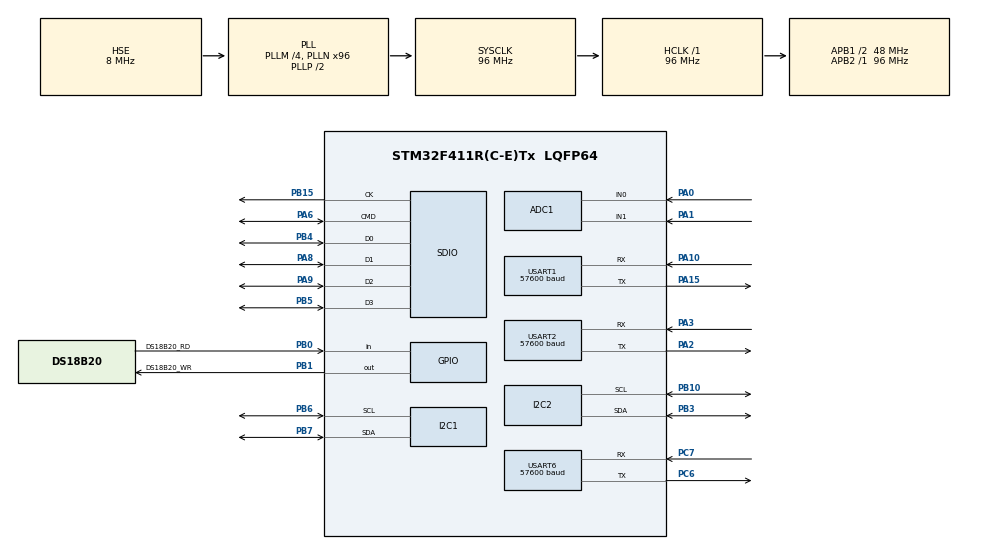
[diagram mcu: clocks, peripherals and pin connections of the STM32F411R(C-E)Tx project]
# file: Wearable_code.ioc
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ADC1.Channel-0\#ChannelRegularConversion=ADC_CHANNEL_0
ADC1.NbrOfConversionFlag=1
ADC1.Rank-0\#ChannelRegularConversion=1
ADC1.SamplingTime-0\#ChannelRegularConversion=ADC_SAMPLETIME_3CYCLES
ADC1.master=1
Dma.ADC1.2.Direction=DMA_PERIPH_TO_MEMORY
Dma.ADC1.2.FIFOMode=DMA_FIFOMODE_DISABLE
Dma.ADC1.2.Instance=DMA2_Stream0
Dma.ADC1.2.MemDataAlignment=DMA_MDATAALIGN_HALFWORD
Dma.ADC1.2.MemInc=DMA_MINC_ENABLE
Dma.ADC1.2.Mode=DMA_NORMAL
Dma.ADC1.2.PeriphDataAlignment=DMA_PDATAALIGN_HALFWORD
Dma.ADC1.2.PeriphInc=DMA_PINC_DISABLE
Dma.ADC1.2.Priority=DMA_PRIORITY_LOW
Dma.Request0=SDIO_RX
Dma.Request1=SDIO_TX
Dma.Request2=ADC1
Dma.Request3=USART1_RX
Dma.Request4=USART6_RX
Dma.Request5=USART2_RX
Dma.Request6=USART2_TX
Dma.SDIO_RX.0.Direction=DMA_PERIPH_TO_MEMORY
Dma.SDIO_RX.0.FIFOMode=DMA_FIFOMODE_ENABLE
Dma.SDIO_RX.0.FIFOThreshold=DMA_FIFO_THRESHOLD_FULL
Dma.SDIO_RX.0.Instance=DMA2_Stream3
Dma.SDIO_RX.0.MemBurst=DMA_MBURST_INC4
Dma.SDIO_RX.0.MemDataAlignment=DMA_MDATAALIGN_WORD
Dma.SDIO_RX.0.MemInc=DMA_MINC_ENABLE
Dma.SDIO_RX.0.Mode=DMA_PFCTRL
Dma.SDIO_RX.0.PeriphBurst=DMA_PBURST_INC4
Dma.SDIO_RX.0.PeriphDataAlignment=DMA_PDATAALIGN_WORD
Dma.SDIO_RX.0.PeriphInc=DMA_PINC_DISABLE
Dma.SDIO_RX.0.Priority=DMA_PRIORITY_LOW
Dma.SDIO_TX.1.Direction=DMA_MEMORY_TO_PERIPH
Dma.SDIO_TX.1.FIFOMode=DMA_FIFOMODE_ENABLE
Dma.SDIO_TX.1.FIFOThreshold=DMA_FIFO_THRESHOLD_FULL
Dma.SDIO_TX.1.Instance=DMA2_Stream6
Dma.SDIO_TX.1.MemBurst=DMA_MBURST_INC4
Dma.SDIO_TX.1.MemDataAlignment=DMA_MDATAALIGN_WORD
Dma.SDIO_TX.1.MemInc=DMA_MINC_ENABLE
Dma.SDIO_TX.1.Mode=DMA_PFCTRL
Dma.SDIO_TX.1.PeriphBurst=DMA_PBURST_INC4
Dma.SDIO_TX.1.PeriphDataAlignment=DMA_PDATAALIGN_WORD
Dma.SDIO_TX.1.PeriphInc=DMA_PINC_DISABLE
Dma.SDIO_TX.1.Priority=DMA_PRIORITY_LOW
Dma.USART1_RX.3.Direction=DMA_PERIPH_TO_MEMORY
Dma.USART1_RX.3.FIFOMode=DMA_FIFOMODE_DISABLE
Dma.USART1_RX.3.Instance=DMA2_Stream2
Dma.USART1_RX.3.MemDataAlignment=DMA_MDATAALIGN_BYTE
Dma.USART1_RX.3.MemInc=DMA_MINC_ENABLE
Dma.USART1_RX.3.Mode=DMA_CIRCULAR
Dma.USART1_RX.3.PeriphDataAlignment=DMA_PDATAALIGN_BYTE
Dma.USART1_RX.3.PeriphInc=DMA_PINC_DISABLE
Dma.USART1_RX.3.Priority=DMA_PRIORITY_LOW
Dma.USART2_RX.5.Direction=DMA_PERIPH_TO_MEMORY
Dma.USART2_RX.5.FIFOMode=DMA_FIFOMODE_DISABLE
Dma.USART2_RX.5.Instance=DMA1_Stream5
Dma.USART2_RX.5.MemDataAlignment=DMA_MDATAALIGN_BYTE
Dma.USART2_RX.5.MemInc=DMA_MINC_ENABLE
Dma.USART2_RX.5.Mode=DMA_CIRCULAR
Dma.USART2_RX.5.PeriphDataAlignment=DMA_PDATAALIGN_BYTE
Dma.USART2_RX.5.PeriphInc=DMA_PINC_DISABLE
Dma.USART2_RX.5.Priority=DMA_PRIORITY_LOW
Dma.USART2_TX.6.Direction=DMA_MEMORY_TO_PERIPH
Dma.USART2_TX.6.FIFOMode=DMA_FIFOMODE_DISABLE
Dma.USART2_TX.6.Instance=DMA1_Stream6
Dma.USART2_TX.6.MemDataAlignment=DMA_MDATAALIGN_BYTE
Dma.USART2_TX.6.MemInc=DMA_MINC_ENABLE
Dma.USART2_TX.6.Mode=DMA_NORMAL
Dma.USART2_TX.6.PeriphDataAlignment=DMA_PDATAALIGN_BYTE
Dma.USART2_TX.6.PeriphInc=DMA_PINC_DISABLE
Dma.USART2_TX.6.Priority=DMA_PRIORITY_VERY_HIGH
Dma.USART6_RX.4.Direction=DMA_PERIPH_TO_MEMORY
Dma.USART6_RX.4.FIFOMode=DMA_FIFOMODE_DISABLE
Dma.USART6_RX.4.Instance=DMA2_Stream1
Dma.USART6_RX.4.MemDataAlignment=DMA_MDATAALIGN_BYTE
Dma.USART6_RX.4.MemInc=DMA_MINC_ENABLE
Dma.USART6_RX.4.Mode=DMA_NORMAL
Dma.USART6_RX.4.PeriphDataAlignment=DMA_PDATAALIGN_BYTE
Dma.USART6_RX.4.PeriphInc=DMA_PINC_DISABLE
Dma.USART6_RX.4.Priority=DMA_PRIORITY_LOW
FREERTOS.BinarySemaphores01=send_sem,Dynamic,NULL
FREERTOS.Tasks01=defaultTask,0,128,StartDefaultTask,Default,NULL
FREERTOS.Timers01=Sender,Callback_Sender,osTimerPeriodic,Default,NULL,Dynamic,NULL
FREERTOS.configUSE_TIMERS=1
Mcu.Family=STM32F4
Mcu.Name=STM32F411R(C-E)Tx
Mcu.Package=LQFP64
NVIC.DMA1_Stream5_IRQn=true\:5\:0\:false\:false\:true\:true
NVIC.DMA1_Stream6_IRQn=true\:5\:0\:false\:false\:true\:true
NVIC.DMA2_Stream0_IRQn=true\:5\:0\:false\:false\:true\:true
NVIC.DMA2_Stream1_IRQn=true\:5\:0\:false\:false\:true\:true
NVIC.DMA2_Stream2_IRQn=true\:5\:0\:false\:false\:true\:true
NVIC.DMA2_Stream3_IRQn=true\:5\:0\:false\:false\:true\:true
NVIC.DMA2_Stream6_IRQn=true\:5\:0\:false\:false\:true\:true
NVIC.PriorityGroup=NVIC_PRIORITYGROUP_4
NVIC.TIM1_UP_TIM10_IRQn=true\:0\:0\:false\:false\:true\:false
NVIC.TIM2_IRQn=true\:5\:0\:false\:false\:true\:true
NVIC.TimeBase=TIM1_UP_TIM10_IRQn
NVIC.TimeBaseIP=TIM1
NVIC.USART1_IRQn=true\:5\:0\:false\:false\:true\:true
NVIC.USART2_IRQn=true\:5\:0\:false\:false\:true\:true
NVIC.USART6_IRQn=true\:5\:0\:false\:false\:true\:true
PA0-WKUP.Signal=ADCx_IN0
PA1.Signal=ADCx_IN1
PA10.Mode=Asynchronous
PA10.Signal=USART1_RX
PA13.Mode=Serial_Wire
PA13.Signal=SYS_JTMS-SWDIO
PA14.Mode=Serial_Wire
PA14.Signal=SYS_JTCK-SWCLK
PA15.Mode=Asynchronous
PA15.Signal=USART1_TX
PA2.Mode=Asynchronous
PA2.Signal=USART2_TX
PA3.Mode=Asynchronous
PA3.Signal=USART2_RX
PA6.Mode=SD_4_bits_Wide_bus
PA6.Signal=SDIO_CMD
PA8.Mode=SD_4_bits_Wide_bus
PA8.Signal=SDIO_D1
PA9.Mode=SD_4_bits_Wide_bus
PA9.Signal=SDIO_D2
PB0.GPIO_Label=DS18B20_RD
PB0.Signal=GPIO_Input
PB1.GPIO_Label=DS18B20_WR
PB1.Signal=GPIO_Output
PB10.Mode=I2C
PB10.Signal=I2C2_SCL
PB15.Mode=SD_4_bits_Wide_bus
PB15.Signal=SDIO_CK
PB3.Mode=I2C
PB3.Signal=I2C2_SDA
PB4.Mode=SD_4_bits_Wide_bus
PB4.Signal=SDIO_D0
PB5.Mode=SD_4_bits_Wide_bus
PB5.Signal=SDIO_D3
PB6.Mode=I2C
PB6.Signal=I2C1_SCL
PB7.Mode=I2C
PB7.Signal=I2C1_SDA
PC6.Mode=Asynchronous
PC6.Signal=USART6_TX
PC7.Mode=Asynchronous
PC7.Signal=USART6_RX
PH0\ -\ OSC_IN.Mode=HSE-External-Oscillator
PH0\ -\ OSC_IN.Signal=RCC_OSC_IN
PH1\ -\ OSC_OUT.Mode=HSE-External-Oscillator
PH1\ -\ OSC_OUT.Signal=RCC_OSC_OUT
ProjectManager.HeapSize=0x200
ProjectManager.StackSize=0x400
ProjectManager.TargetToolchain=MDK-ARM V5
RCC.48MHZClocksFreq_Value=48000000
RCC.AHBFreq_Value=96000000
RCC.APB1CLKDivider=RCC_HCLK_DIV2
RCC.APB1Freq_Value=48000000
RCC.APB1TimFreq_Value=96000000
RCC.APB2Freq_Value=96000000
RCC.APB2TimFreq_Value=96000000
RCC.CortexFreq_Value=96000000
RCC.HCLKFreq_Value=96000000
RCC.HSE_VALUE=8000000
RCC.HSI_VALUE=16000000
RCC.LSE_VALUE=32768
RCC.PLLM=4
RCC.PLLN=96
RCC.PLLSourceVirtual=RCC_PLLSOURCE_HSE
RCC.SYSCLKFreq_VALUE=96000000
RCC.SYSCLKSource=RCC_SYSCLKSOURCE_PLLCLK
RCC.VCOOutputFreq_Value=192000000
SH.ADCx_IN0.0=ADC1_IN0,IN0
SH.ADCx_IN1.0=ADC1_IN1,IN1
TIM2.Period=40000
TIM2.Prescaler=84
USART1.BaudRate=57600
USART1.VirtualMode=VM_ASYNC
USART2.BaudRate=57600
USART2.VirtualMode=VM_ASYNC
USART6.BaudRate=57600
USART6.VirtualMode=VM_ASYNC
VP_FREERTOS_VS_ENABLE.Mode=Enabled
VP_RTC_VS_RTC_Activate.Mode=RTC_Enabled
VP_SYS_VS_tim1.Mode=TIM1
VP_TIM2_VS_ClockSourceINT.Mode=Internal
board=Wearable_code

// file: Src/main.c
/**
  ******************************************************************************
  * File Name          : main.c
  * Description        : Main program body
  ******************************************************************************
  * This notice applies to any and all portions of this file
  * that are not between comment pairs USER CODE BEGIN and
  * USER CODE END. Other portions of this file, whether
  * inserted by the user or by software development tools
  * are owned by their respective copyright owners.
  *
  * Copyright (c) 2017 STMicroelectronics International N.V.
  * All rights reserved.
  *
  * Redistribution and use in source and binary forms, with or without
  * modification, are permitted, provided that the following conditions are met:
  *
  * 1. Redistribution of source code must retain the above copyright notice,
  *    this list of conditions and the following disclaimer.
  * 2. Redistributions in binary form must reproduce the above copyright notice,
  *    this list of conditions and the following disclaimer in the documentation
  *    and/or other materials provided with the distribution.
  * 3. Neither the name of STMicroelectronics nor the names of other
  *    contributors to this software may be used to endorse or promote products
  *    derived from this software without specific written permission.
  * 4. This software, including modifications and/or derivative works of this
  *    software, must execute solely and exclusively on microcontroller or
  *    microprocessor devices manufactured by or for STMicroelectronics.
  * 5. Redistribution and use of this software other than as permitted under
  *    this license is void and will automatically terminate your rights under
  *    this license.
  *
  * THIS SOFTWARE IS PROVIDED BY STMICROELECTRONICS AND CONTRIBUTORS "AS IS"
  * AND ANY EXPRESS, IMPLIED OR STATUTORY WARRANTIES, INCLUDING, BUT NOT
  * LIMITED TO, THE IMPLIED WARRANTIES OF MERCHANTABILITY, FITNESS FOR A
  * PARTICULAR PURPOSE AND NON-INFRINGEMENT OF THIRD PARTY INTELLECTUAL PROPERTY
  * RIGHTS ARE DISCLAIMED TO THE FULLEST EXTENT PERMITTED BY LAW. IN NO EVENT
  * SHALL STMICROELECTRONICS OR CONTRIBUTORS BE LIABLE FOR ANY DIRECT, INDIRECT,
  * INCIDENTAL, SPECIAL, EXEMPLARY, OR CONSEQUENTIAL DAMAGES (INCLUDING, BUT NOT
  * LIMITED TO, PROCUREMENT OF SUBSTITUTE GOODS OR SERVICES; LOSS OF USE, DATA,
  * OR PROFITS; OR BUSINESS INTERRUPTION) HOWEVER CAUSED AND ON ANY THEORY OF
  * LIABILITY, WHETHER IN CONTRACT, STRICT LIABILITY, OR TORT (INCLUDING
  * NEGLIGENCE OR OTHERWISE) ARISING IN ANY WAY OUT OF THE USE OF THIS SOFTWARE,
  * EVEN IF ADVISED OF THE POSSIBILITY OF SUCH DAMAGE.
  *
  ******************************************************************************
  */
#include "main.h"
#include "stm32f4xx_hal.h"
#include "cmsis_os.h"
#include "adc.h"
#include "dma.h"
#include "i2c.h"
#include "rtc.h"
#include "sdio.h"
#include "tim.h"
#include "usart.h"
#include "gpio.h"

/* USER CODE BEGIN Includes */
#include "DS18b20.h"

/* USER CODE END Includes */

/* USER CODE BEGIN PV */
/* Private variables ---------------------------------------------------------*/

/* USER CODE END PV */

void SystemClock_Config(void);
void MX_FREERTOS_Init(void);

/* USER CODE BEGIN PFP */
/* Private function prototypes -----------------------------------------------*/

/* USER CODE END PFP */

int main(void)
{

  /* MCU Configuration----------------------------------------------------------*/

  /* Reset of all peripherals, Initializes the Flash interface and the Systick. */
  HAL_Init();

  /* Configure the system clock */
  SystemClock_Config();

  /* Initialize all configured peripherals */
  MX_GPIO_Init();
  MX_DMA_Init();
  MX_SDIO_SD_Init();
  MX_USART1_UART_Init();
  MX_USART2_UART_Init();
  MX_USART6_UART_Init();
  MX_I2C1_Init();
  MX_ADC1_Init();
  MX_RTC_Init();
  MX_TIM2_Init();
  MX_I2C2_Init();

  /* USER CODE BEGIN 2 */
	//DS18B20_Search_ROM();

  /* USER CODE END 2 */

  /* Call init function for freertos objects (in freertos.c) */
  MX_FREERTOS_Init();

  /* Start scheduler */
  osKernelStart();

  /* We should never get here as control is now taken by the scheduler */

  /* Infinite loop */
  while (1)
  {

  }

}

/** System Clock Configuration
*/
void SystemClock_Config(void)
{

  RCC_OscInitTypeDef RCC_OscInitStruct;
  RCC_ClkInitTypeDef RCC_ClkInitStruct;
  RCC_PeriphCLKInitTypeDef PeriphClkInitStruct;

    /**Configure the main internal regulator output voltage
    */
  __HAL_RCC_PWR_CLK_ENABLE();

  __HAL_PWR_VOLTAGESCALING_CONFIG(PWR_REGULATOR_VOLTAGE_SCALE1);

    /**Initializes the CPU, AHB and APB busses clocks
    */
  RCC_OscInitStruct.OscillatorType = RCC_OSCILLATORTYPE_LSI|RCC_OSCILLATORTYPE_HSE;
  RCC_OscInitStruct.HSEState = RCC_HSE_ON;
  RCC_OscInitStruct.LSIState = RCC_LSI_ON;
  RCC_OscInitStruct.PLL.PLLState = RCC_PLL_ON;
  RCC_OscInitStruct.PLL.PLLSource = RCC_PLLSOURCE_HSE;
  RCC_OscInitStruct.PLL.PLLM = 4;
  RCC_OscInitStruct.PLL.PLLN = 96;
  RCC_OscInitStruct.PLL.PLLP = RCC_PLLP_DIV2;
  RCC_OscInitStruct.PLL.PLLQ = 4;
  if (HAL_RCC_OscConfig(&RCC_OscInitStruct) != HAL_OK)
  {
    _Error_Handler(__FILE__, __LINE__);
  }

    /**Initializes the CPU, AHB and APB busses clocks
    */
  RCC_ClkInitStruct.ClockType = RCC_CLOCKTYPE_HCLK|RCC_CLOCKTYPE_SYSCLK
                              |RCC_CLOCKTYPE_PCLK1|RCC_CLOCKTYPE_PCLK2;
  RCC_ClkInitStruct.SYSCLKSource = RCC_SYSCLKSOURCE_PLLCLK;
  RCC_ClkInitStruct.AHBCLKDivider = RCC_SYSCLK_DIV1;
  RCC_ClkInitStruct.APB1CLKDivider = RCC_HCLK_DIV2;
  RCC_ClkInitStruct.APB2CLKDivider = RCC_HCLK_DIV1;

  if (HAL_RCC_ClockConfig(&RCC_ClkInitStruct, FLASH_LATENCY_3) != HAL_OK)
  {
    _Error_Handler(__FILE__, __LINE__);
  }

  PeriphClkInitStruct.PeriphClockSelection = RCC_PERIPHCLK_RTC;
  PeriphClkInitStruct.RTCClockSelection = RCC_RTCCLKSOURCE_LSI;
  if (HAL_RCCEx_PeriphCLKConfig(&PeriphClkInitStruct) != HAL_OK)
  {
    _Error_Handler(__FILE__, __LINE__);
  }

    /**Configure the Systick interrupt time
    */
  HAL_SYSTICK_Config(HAL_RCC_GetHCLKFreq()/1000);

    /**Configure the Systick
    */
  HAL_SYSTICK_CLKSourceConfig(SYSTICK_CLKSOURCE_HCLK);

  /* SysTick_IRQn interrupt configuration */
  HAL_NVIC_SetPriority(SysTick_IRQn, 15, 0);
}

void HAL_TIM_PeriodElapsedCallback(TIM_HandleTypeDef *htim)
{
  if (htim->Instance == TIM1) {
    HAL_IncTick();
  }
}

void _Error_Handler(char * file, int line)
{
  while(1)
  {
  }
}

/************************ (C) COPYRIGHT STMicroelectronics *****END OF FILE****/

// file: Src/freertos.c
/**
  ******************************************************************************
  * File Name          : freertos.c
  * Description        : Code for freertos applications
  ******************************************************************************
  * This notice applies to any and all portions of this file
  * that are not between comment pairs USER CODE BEGIN and
  * USER CODE END. Other portions of this file, whether
  * inserted by the user or by software development tools
  * are owned by their respective copyright owners.
  *
  * Copyright (c) 2017 STMicroelectronics International N.V.
  * All rights reserved.
  *
  * Redistribution and use in source and binary forms, with or without
  * modification, are permitted, provided that the following conditions are met:
  *
  * 1. Redistribution of source code must retain the above copyright notice,
  *    this list of conditions and the following disclaimer.
  * 2. Redistributions in binary form must reproduce the above copyright notice,
  *    this list of conditions and the following disclaimer in the documentation
  *    and/or other materials provided with the distribution.
  * 3. Neither the name of STMicroelectronics nor the names of other
  *    contributors to this software may be used to endorse or promote products
  *    derived from this software without specific written permission.
  * 4. This software, including modifications and/or derivative works of this
  *    software, must execute solely and exclusively on microcontroller or
  *    microprocessor devices manufactured by or for STMicroelectronics.
  * 5. Redistribution and use of this software other than as permitted under
  *    this license is void and will automatically terminate your rights under
  *    this license.
  *
  * THIS SOFTWARE IS PROVIDED BY STMICROELECTRONICS AND CONTRIBUTORS "AS IS"
  * AND ANY EXPRESS, IMPLIED OR STATUTORY WARRANTIES, INCLUDING, BUT NOT
  * LIMITED TO, THE IMPLIED WARRANTIES OF MERCHANTABILITY, FITNESS FOR A
  * PARTICULAR PURPOSE AND NON-INFRINGEMENT OF THIRD PARTY INTELLECTUAL PROPERTY
  * RIGHTS ARE DISCLAIMED TO THE FULLEST EXTENT PERMITTED BY LAW. IN NO EVENT
  * SHALL STMICROELECTRONICS OR CONTRIBUTORS BE LIABLE FOR ANY DIRECT, INDIRECT,
  * INCIDENTAL, SPECIAL, EXEMPLARY, OR CONSEQUENTIAL DAMAGES (INCLUDING, BUT NOT
  * LIMITED TO, PROCUREMENT OF SUBSTITUTE GOODS OR SERVICES; LOSS OF USE, DATA,
  * OR PROFITS; OR BUSINESS INTERRUPTION) HOWEVER CAUSED AND ON ANY THEORY OF
  * LIABILITY, WHETHER IN CONTRACT, STRICT LIABILITY, OR TORT (INCLUDING
  * NEGLIGENCE OR OTHERWISE) ARISING IN ANY WAY OUT OF THE USE OF THIS SOFTWARE,
  * EVEN IF ADVISED OF THE POSSIBILITY OF SUCH DAMAGE.
  *
  ******************************************************************************
  */

#include "FreeRTOS.h"
#include "task.h"
#include "cmsis_os.h"

/* USER CODE BEGIN Includes */
#include "sys.h"
#include "DataScope_DP.h"
#include "ECG.h"
#include "DS18b20.h"
#include "AD5933.h"
#include "MPU6050.h"

/* USER CODE END Includes */

osThreadId defaultTaskHandle;
osTimerId SenderHandle;
osSemaphoreId send_semHandle;

/* USER CODE BEGIN Variables */
osThreadId MPU_TaskHandle;
osThreadId Hx_TaskHandle;
osThreadId Temp_TaskHandle;
/* USER CODE END Variables */

void StartDefaultTask(void const * argument);
void Callback_Sender(void const * argument);

void MX_FREERTOS_Init(void); /* (MISRA C 2004 rule 8.1) */

/* USER CODE BEGIN FunctionPrototypes */
void MPU_Task(void const * argument);
void Hx_Task(void const * argument);
void Temp_Task(void const * argument);

/* USER CODE END FunctionPrototypes */

/* Hook prototypes */

/* Init FreeRTOS */

void MX_FREERTOS_Init(void) {

  /* Create the semaphores(s) */
  /* definition and creation of send_sem */
  osSemaphoreDef(send_sem);
  send_semHandle = osSemaphoreCreate(osSemaphore(send_sem), 1);

  /* Create the timer(s) */
  /* definition and creation of Sender */
  osTimerDef(Sender, Callback_Sender);
  SenderHandle = osTimerCreate(osTimer(Sender), osTimerPeriodic, NULL);

  /* USER CODE BEGIN RTOS_TIMERS */
  /* start timers, add new ones, ... */
	osTimerStart(SenderHandle,2);
  /* USER CODE END RTOS_TIMERS */

  /* Create the thread(s) */
  /* definition and creation of defaultTask */
  osThreadDef(defaultTask, StartDefaultTask, osPriorityNormal, 0, 128);
  defaultTaskHandle = osThreadCreate(osThread(defaultTask), NULL);

  /* USER CODE BEGIN RTOS_THREADS */
  osThreadDef(MPUTask, MPU_Task, osPriorityBelowNormal, 0, 1280);
  MPU_TaskHandle = osThreadCreate(osThread(MPUTask), NULL);

  osThreadDef(HxTask, Hx_Task, osPriorityBelowNormal, 0, 1280);
  Hx_TaskHandle = osThreadCreate(osThread(HxTask), NULL);

  osThreadDef(TempTask, Temp_Task, osPriorityBelowNormal, 0, 1280);
  Temp_TaskHandle = osThreadCreate(osThread(TempTask), NULL);

  /* add threads, ... */
  /* USER CODE END RTOS_THREADS */

}

/* StartDefaultTask function */
void StartDefaultTask(void const * argument)
{

  /* USER CODE BEGIN StartDefaultTask */

  int i;
  for(i=0;i<255;i++)
  {
    Data_Pack.buffer[i]=i;
  }
  sys.ecg_index=0;
	/******��USART1,2��6�����ж� *****/
	__HAL_UART_ENABLE_IT(&huart1, UART_IT_IDLE);
	__HAL_UART_ENABLE_IT(&huart2, UART_IT_IDLE);
	__HAL_UART_ENABLE_IT(&huart6, UART_IT_IDLE);

  /* Infinite loop */
  for(;;)
  {
    osSemaphoreWait(send_semHandle,osWaitForever);
    Generate_Data(&Data_Pack,1,20,(unsigned char *)sys.ecg1buff);//ecg data
    Generate_Data(&Data_Pack,2,20,(unsigned char *)sys.ecg2buff);
    Generate_Data(&Data_Pack,3,20,(unsigned char *)sys.ecg3buff);
    Generate_Data(&Data_Pack,4,8,(unsigned char *)sys.mpuAxbuff);//mpu data
    Generate_Data(&Data_Pack,5,8,(unsigned char *)sys.mpuAybuff);
    Generate_Data(&Data_Pack,6,8,(unsigned char *)sys.mpuAzbuff);
    Generate_Data(&Data_Pack,7,4,(unsigned char *)&sys.ZuKang);//huxi data
    SendPACK(0xff,Data_Pack.size,Data_Pack.buffer);
    Data_Pack.size=0;
   }
  /* USER CODE END StartDefaultTask */
}

/* Callback_Sender function */
void Callback_Sender(void const * argument)
{
  /* USER CODE BEGIN Callback_Sender */
    static int count=0,countmpu=0,countother=0,i;
    static unsigned char temp=0,temp2=0;

  switch(countmpu++)
  {
    case 0:
      sys.mpuAxbuff[sys.mpu_index]=sys.ACCEL_X;
      sys.mpuAybuff[sys.mpu_index]=sys.ACCEL_Y;
      sys.mpuAzbuff[sys.mpu_index]=sys.ACCEL_Z;
      sys.mpu_index++;
      if(sys.mpu_index>=10)
      {
        sys.mpu_index=0;
      }
      break;
    case 4:
      countmpu=0;
      break;
    default:break;
  }
  switch(count++)
  {
    case 0:
      sys.ecg1buff[sys.ecg_index]=ECG_DATA1.ECG_DATA;
      sys.ecg2buff[sys.ecg_index]=ECG_DATA2.ECG_DATA;
      sys.ecg3buff[sys.ecg_index]=temp2++;
      sys.ecg_index++;
      if(sys.ecg_index>=10)
      {
        osSemaphoreRelease(send_semHandle);
        sys.mpu_index=0;
        sys.ecg_index=0;
      }
      break;
    case 1:
      count=0;
      break;
    default:break;
  }

  /* USER CODE END Callback_Sender */
}

/* USER CODE BEGIN Application */
void MPU_Task(void const * argument)
{
	static int count=0;
	Init_MPU6050();
	while(1)
	{
		READ_MPU6050();
		count++;
		osDelay(10);
	}
}

void Hx_Task(void const * argument)
{
	int count=0;
	float temp_f[20],sum=0;
	Init_AD5933();
	osDelay(200);
	BeginSample();
	osDelay(200);
	while(1)
	{
		if(count++<10)
		{
			 temp_f[count]=Sample();
			 sum+=temp_f[count];

		}else
		{
			count=0;
		  sys.ZuKang=sum/10.0;
		  //sys.ZuKang=10.0;
			sum=0;
		}
		osDelay(5);
	}

}
void Temp_Task(void const * argument)
{
	int count=0;
	while(1)
	{
		osDelay(5);
	}

}
/* USER CODE END Application */

/************************ (C) COPYRIGHT STMicroelectronics *****END OF FILE****/
